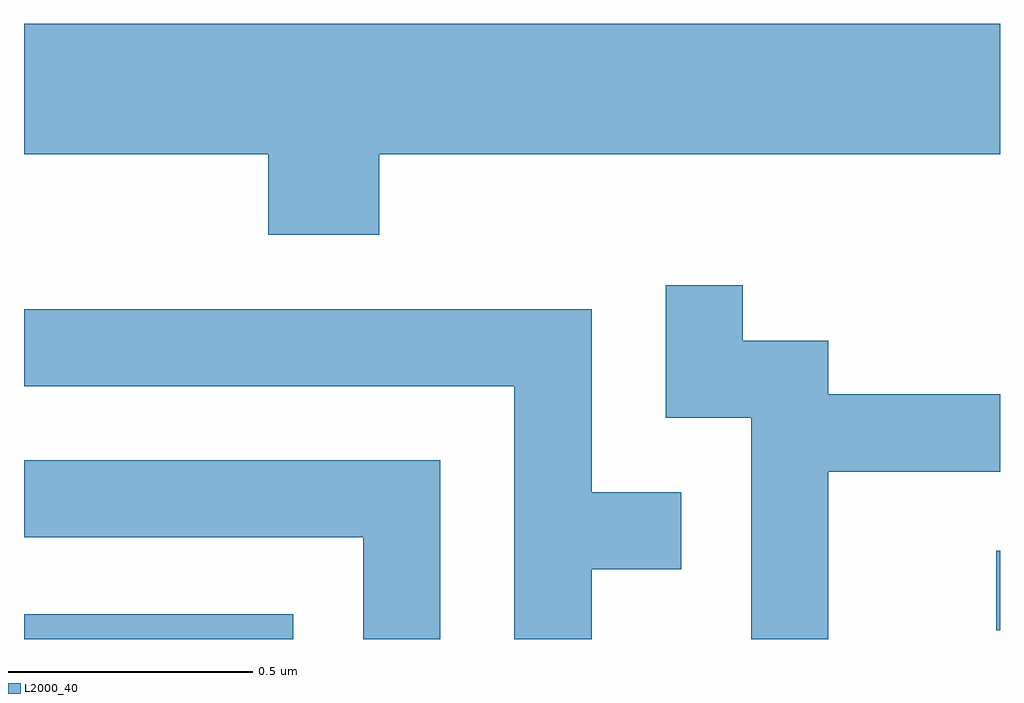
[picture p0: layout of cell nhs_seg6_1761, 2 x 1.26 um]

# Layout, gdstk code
import gdstk
lib = gdstk.Library(unit=1e-6, precision=1e-09)
def R(c, l, rs):  # rectangles x0, y0, x1, y1
    for r in rs: c.add(gdstk.rectangle(r[:2], r[2:], *l))
def P(c, l, *ps):  # polygons
    for p in ps: c.add(gdstk.Polygon(p, *l))
L2000_40 = (2000, 40)

nhs_seg6_1761 = lib.new_cell('nhs_seg6_1761')
R(nhs_seg6_1761, L2000_40, [(197.611,1651.162,198.163,1651.214), (199.603,1651.181,199.611,1651.344)])
P(nhs_seg6_1761, L2000_40, [(198.339,1652.156),(199.611,1652.156),(199.611,1652.424),(197.611,1652.424),(197.611,1652.156),(198.111,1652.156),(198.111,1651.991),(198.339,1651.991)],
  [(199.259,1651.506),(199.611,1651.506),(199.611,1651.664),(199.259,1651.664),(199.259,1651.774),(199.084,1651.774),(199.084,1651.888),(198.926,1651.888),(198.926,1651.616),(199.101,1651.616),(199.101,1651.162),(199.259,1651.162)],
  [(198.774,1651.306),(198.958,1651.306),(198.958,1651.464),(198.774,1651.464),(198.774,1651.839),(197.611,1651.839),(197.611,1651.681),(198.616,1651.681),(198.616,1651.162),(198.774,1651.162)],
  [(198.464,1651.529),(197.611,1651.529),(197.611,1651.371),(198.306,1651.371),(198.306,1651.162),(198.464,1651.162)])

lib.write_gds('nhs_seg6_1761.gds')
